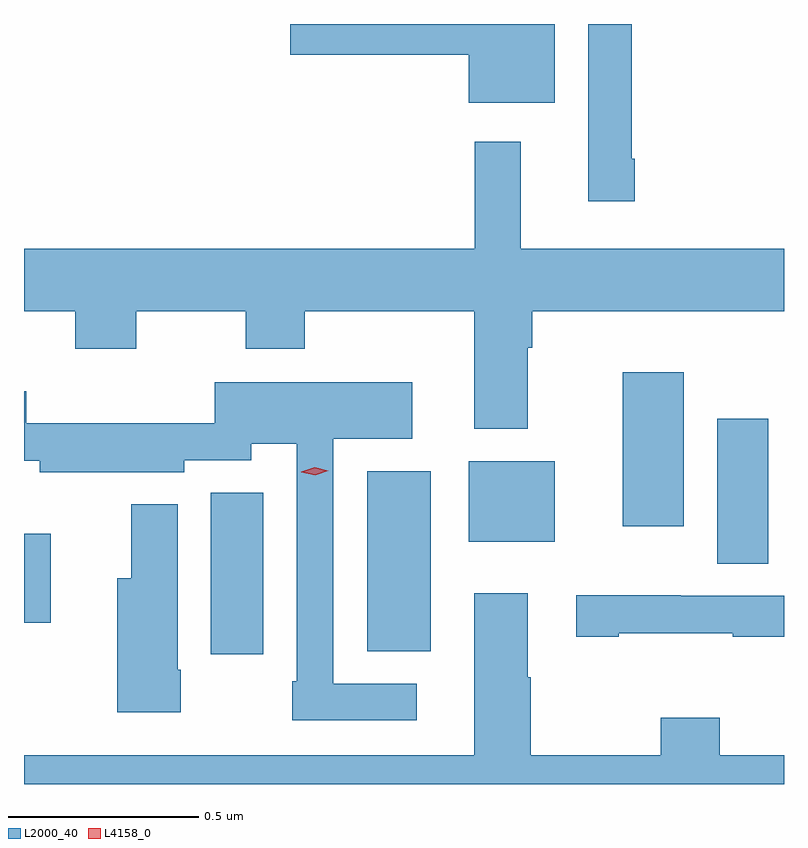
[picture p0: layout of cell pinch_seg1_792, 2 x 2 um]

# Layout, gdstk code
import gdstk
lib = gdstk.Library(unit=1e-6, precision=1e-09)
def R(c, l, rs):  # rectangles x0, y0, x1, y1
    for r in rs: c.add(gdstk.rectangle(r[:2], r[2:], *l))
def P(c, l, *ps):  # polygons
    for p in ps: c.add(gdstk.Polygon(p, *l))
L2000_40 = (2000, 40)
L4158_0 = (4158, 0)

pinch_seg1_792 = lib.new_cell('pinch_seg1_792')
R(pinch_seg1_792, L2000_40, [(544.748,573.474,544.885,573.899), (545.159,573.481,545.326,573.955), (544.256,573.557,544.327,573.79), (546.08,573.712,546.214,574.093), (545.426,573.77,545.653,573.982), (545.831,573.81,545.992,574.216)])
P(pinch_seg1_792, L2000_40, [(545.863,574.777),(545.855,574.777),(545.855,575.132),(545.741,575.132),(545.741,574.665),(545.863,574.665)],
  [(545.653,575.132),(544.956,575.132),(544.956,575.051),(545.426,575.051),(545.426,574.925),(545.653,574.925)],
  [(545.581,574.28),(545.594,574.28),(545.594,574.376),(546.256,574.376),(546.256,574.54),(545.563,574.54),(545.563,574.822),(545.442,574.822),(545.442,574.54),(544.256,574.54),(544.256,574.376),(544.391,574.376),(544.391,574.277),(544.551,574.277),(544.551,574.376),(544.84,574.376),(544.84,574.277),(544.995,574.277),(544.995,574.376),(545.441,574.376),(545.441,574.067),(545.581,574.067)],
  [(545.29,573.396),(545.07,573.396),(545.07,574.04),(545.278,574.04),(545.278,574.189),(544.758,574.189),(544.758,574.081),(544.262,574.081),(544.262,574.165),(544.256,574.165),(544.256,573.983),(544.298,573.983),(544.298,573.953),(544.678,573.953),(544.678,573.984),(544.854,573.984),(544.854,574.028),(544.974,574.028),(544.974,573.403),(544.962,573.403),(544.962,573.3),(545.29,573.3)],
  [(544.668,573.433),(544.66,573.433),(544.66,573.868),(544.538,573.868),(544.538,573.673),(544.502,573.673),(544.502,573.321),(544.668,573.321)],
  [(546.256,573.208),(546.087,573.208),(546.087,573.307),(545.932,573.307),(545.932,573.208),(545.589,573.208),(545.589,573.413),(545.581,573.413),(545.581,573.634),(545.441,573.634),(545.441,573.208),(544.256,573.208),(544.256,573.132),(546.256,573.132)],
  [(545.821,573.529),(546.121,573.529),(546.121,573.519),(546.256,573.519),(546.256,573.627),(545.984,573.627),(545.984,573.629),(545.709,573.629),(545.709,573.519),(545.821,573.519)])
P(pinch_seg1_792, L4158_0, [(545.022,573.945),(544.986,573.953),(544.986,573.953),(544.986,573.954),(545.021,573.965),(545.056,573.956),(545.056,573.956),(545.056,573.956)])

lib.write_gds('pinch_seg1_792.gds')
